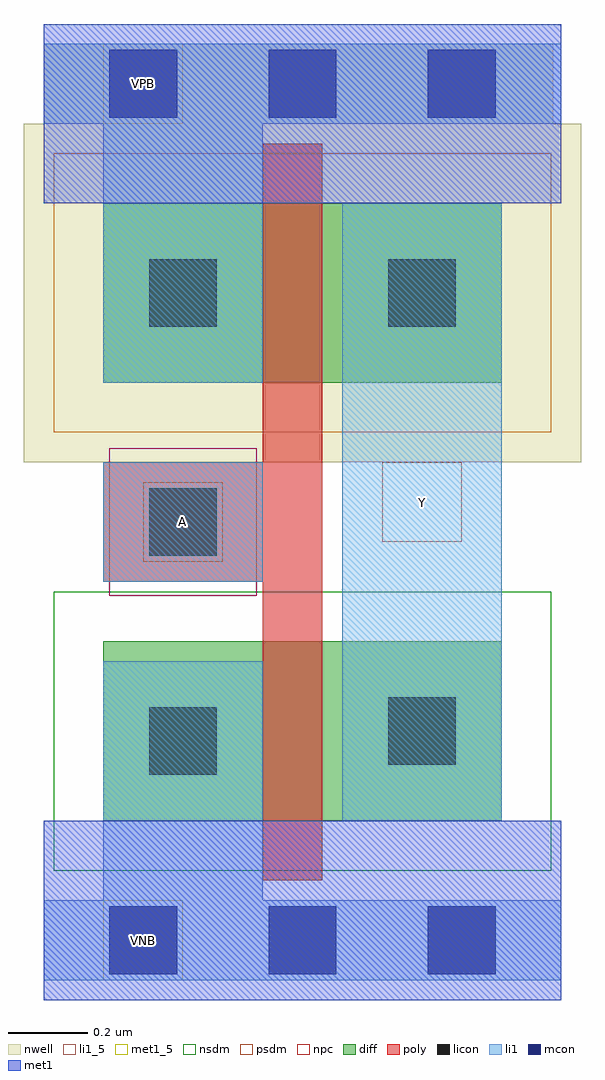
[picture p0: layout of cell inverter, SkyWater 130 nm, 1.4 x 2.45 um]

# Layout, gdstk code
import gdstk
lib = gdstk.Library(unit=1e-6, precision=1e-09)
def R(c, l, rs):  # rectangles x0, y0, x1, y1
    for r in rs: c.add(gdstk.rectangle(r[:2], r[2:], *l))
def A(c, l, x, y, w, h, nx, ny, dx, dy):  # array of equal rectangles
    R(c, l, [(x+i*dx, y+j*dy, x+i*dx+w, y+j*dy+h) for i in range(nx) for j in range(ny)])
nwell = (64, 20)
diff = (65, 20)
poly = (66, 20)
licon = (66, 44)
li1_5 = (67, 5)
li1 = (67, 20)
mcon = (67, 44)
met1_5 = (68, 5)
met1 = (68, 20)
nsdm = (93, 44)
psdm = (94, 20)
npc = (95, 20)

inverter = lib.new_cell('inverter')
R(inverter, nwell, [(-0.55,1.25,0.85,2.1), (-0.5,2.1,0.78,2.3)])
R(inverter, diff, [(-0.35,0.35,0.65,0.8), (-0.35,1.45,0.65,1.9)])
R(inverter, poly, [(0.05,0.2,0.2,0.95), (-0.35,0.95,0.2,1.25), (0.05,1.25,0.2,2.05)])
R(inverter, licon, [(-0.235,0.465,-0.065,0.635), (0.365,0.49,0.535,0.66), (-0.235,1.015,-0.065,1.185), (-0.235,1.59,-0.065,1.76), (0.365,1.59,0.535,1.76)])
R(inverter, li1_5, [(-0.25,1,-0.05,1.2), (0.35,1.05,0.55,1.25)])
R(inverter, li1, [(-0.5,-0.05,0.8,0.15), (-0.35,0.15,0.05,0.75), (0.25,0.35,0.65,1.9), (-0.35,0.95,0.05,1.25), (-0.35,1.45,0.05,2.1), (-0.5,2.1,0.8,2.3)])
A(inverter, mcon, -0.335, -0.035, 0.17, 0.17, 3, 2, 0.4, 2.15)
R(inverter, met1_5, [(-0.35,-0.05,-0.15,0.15), (-0.35,-0.05,-0.15,0.15), (-0.35,2.1,-0.15,2.3), (-0.35,2.1,-0.15,2.3)])
R(inverter, met1, [(-0.5,-0.1,0.8,0.35), (-0.5,1.9,0.8,2.35)])
R(inverter, nsdm, [(-0.475,0.225,0.775,0.925)])
R(inverter, psdm, [(-0.475,1.325,0.775,2.025)])
R(inverter, npc, [(-0.335,0.915,0.035,1.285)])
inverter.add(gdstk.Label('Y', (0.45,1.15), layer=67, texttype=5))
inverter.add(gdstk.Label('A', (-0.15,1.1), layer=67, texttype=5))
inverter.add(gdstk.Label('VPB', (-0.25,2.2), layer=68, texttype=5))
inverter.add(gdstk.Label('VPWR', (-0.25,2.2), layer=68, texttype=5))
inverter.add(gdstk.Label('VNB', (-0.25,0.05), layer=68, texttype=5))
inverter.add(gdstk.Label('VGND', (-0.25,0.05), layer=68, texttype=5))

lib.write_gds('inverter.gds')
